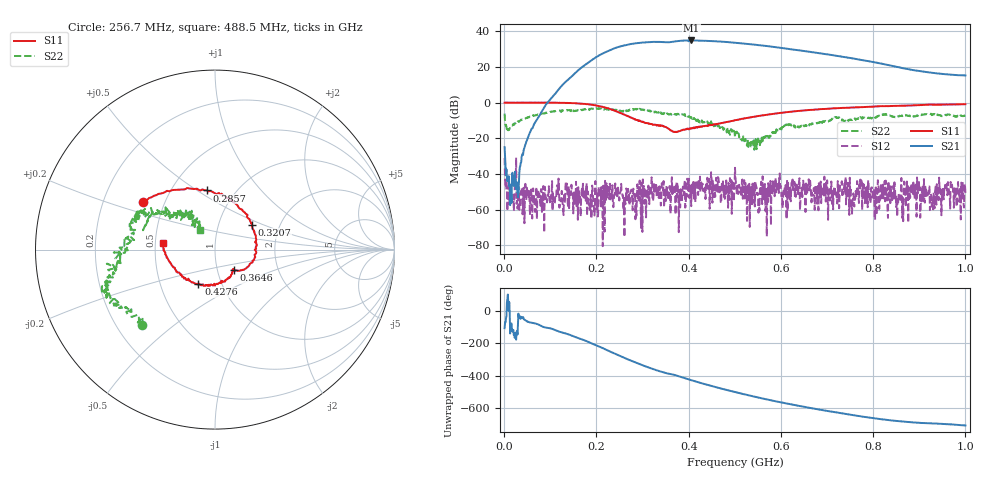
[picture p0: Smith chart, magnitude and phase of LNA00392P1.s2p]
! Created with skrf 1.9.0 (http://scikit-rf.org).
# Hz S RI R 50.0
!freq ReS11 ImS11 ReS21 ImS21 ReS12 ImS12 ReS22 ImS22
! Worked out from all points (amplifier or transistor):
!   1001 points, 1 MHz to 1 GHz, reference 50 ohm
!   highest |S21| = 34.8 dB at 405.6 MHz (marker M1)
!   |S21| within 3 dB of that: 257.1 MHz to 565.5 MHz (308.4 MHz wide, 75 % of centre)
!   unconditionally stable (mu >= 1): 229.6 MHz to 300.7 MHz; 320.3 MHz to 448.5 MHz; 500.6 MHz to end of sweep (the widest 3 of 37)
!   at 166.8 MHz: K = 2.50, MAG = 30.2 dB, |S12| = -54.5 dB
!   at 500.5 MHz: K = 0.97, MSG = 35.1 dB, |S12| = -36.5 dB
!   at 1 GHz: K = 4.58, MAG = 23.4 dB, |S12| = -50.6 dB
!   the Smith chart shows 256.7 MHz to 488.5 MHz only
!   S11 on the Smith chart (normalised r, x): 256.7 MHz: 0.38, +0.26; 285.7 MHz: 0.74, +0.55; 320.7 MHz: 1.44, +0.42; 364.6 MHz: 1.20, -0.28; 427.6 MHz: 0.78, -0.31; 488.5 MHz: 0.55, +0.04
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1000000  0.995 0.00454  -0.0177 -0.0537  -0.0278 -0.00243  0.316 0.3771
1.08892e8  0.5365 -0.8389  -0.7776 -1.488  -0.00131 -0.00119  0.4185 -0.3743
1.67833e8  -0.2047 -0.9092  -9.647 -0.6734  -0.00254 -0.0021  0.0258 -0.6273
2.14786e8  -0.6752 -0.3329  -14.71 19.12  -0.00453 -0.00122  -0.2216 -0.6216
2.34766e8  -0.6309 0.00333  -6.54 31.1  -0.00335 0.00347  -0.3243 -0.5593
2.56744e8  -0.4019 0.2631  10.77 37.47  -0.00109 -0.0021  -0.4046 -0.4207
2.85715e8  -0.0438 0.3297  35.25 29.68  0.000921 0.00125  -0.62 -0.2547
3.2068e8  0.2057 0.1376  50.12 2.121  -0.00587 0.000137  -0.568 -0.0854
3.34666e8  0.2267 0.0134  49.44 -9.62  -0.000869 -0.00205  -0.5362 -0.0127
3.64636e8  0.1067 -0.1146  42.21 -27.44  0.00202 0.00183  -0.4752 0.1437
3.81619e8  0.0942 -0.1298  37.14 -39.33  0.000777 0.000843  -0.4037 0.2101
4.05595e8  0.0203 -0.1881  20.72 -51.24  0.000356 0.0012  -0.3361 0.2048
4.27573e8  -0.0922 -0.1907  3.651 -54.35  0.00534 0.00224  -0.2184 0.1908
4.55545e8  -0.2154 -0.1231  -16.62 -49.85  0.00226 0.00409  -0.1577 0.1697
4.88512e8  -0.2922 0.0353  -33.37 -36.1  0.00184 -0.000332  -0.0847 0.1103
5.005e8  -0.3038 0.1128  -37.31 -30.04  0.0149 0.000188  -0.0835 0.0668
5.4046e8  -0.2431 0.3179  -41.45 -8.742  0.00127 -0.000937  -0.0594 -0.00956
5.88412e8  -0.0502 0.4936  -34.17 11.13  0.00746 -0.00243  -0.1129 -0.0831
6.67333e8  0.3283 0.5343  -12.41 22.63  -0.00257 -0.00153  -0.2596 -0.0414
7.53247e8  0.628 0.3684  3.641 17.12  0.00115 -0.00123  -0.3201 0.0484
8.34166e8  0.7863 0.1412  7.783 8.076  -0.00243 0.000446  -0.4341 0.1323
1e9  0.8119 -0.3928  5.637 1.323  -0.00294 0.000282  -0.1328 0.4033
